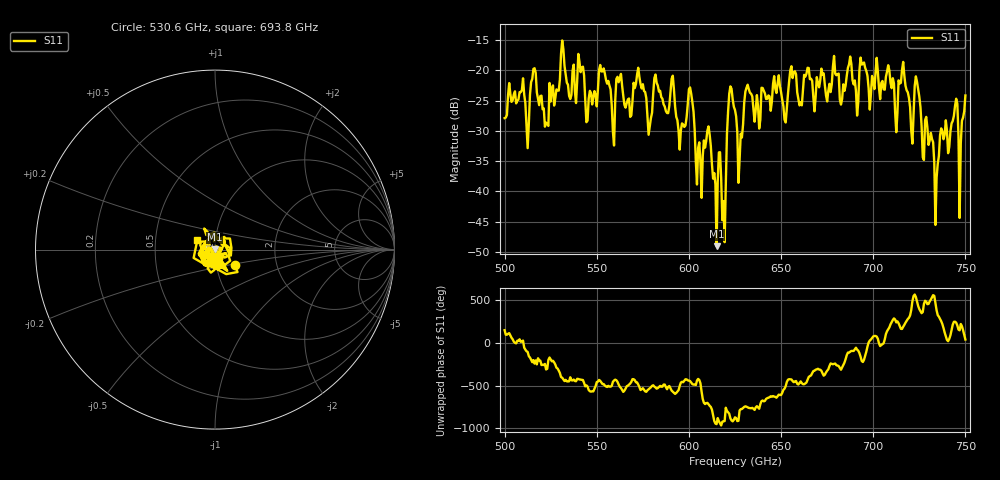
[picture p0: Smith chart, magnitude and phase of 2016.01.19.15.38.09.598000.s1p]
!Created with skrf (http://scikit-rf.org).
# GHz S RI R 50.0
!freq ReS11 ImS11
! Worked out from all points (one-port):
!   401 points, 500 GHz to 750 GHz, reference 50 ohm
!   lowest |S11| = -49.0 dB at 615 GHz (marker M1), VSWR 1.01, Z = 49.8 + j0.265 ohm
!   |S11| at or under -10 dB: start of sweep to end of sweep
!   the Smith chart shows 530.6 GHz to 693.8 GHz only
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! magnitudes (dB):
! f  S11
! 500 GHz  -27.9
! 512.5 GHz  -32.8
! 515.6 GHz  -19.7
! 522.5 GHz  -28.6
! 531.2 GHz  -15.0
! 545 GHz  -28.3
! 562.5 GHz  -21.3
! 578.8 GHz  -29.3
! 591.2 GHz  -20.9
! 593.8 GHz  -28.2
! 601.2 GHz  -23.9
! 605.6 GHz  -31.9
! 610.6 GHz  -29.2
! 615 GHz  -49.0
! 618.8 GHz  -41.6
! 621.9 GHz  -23.8
! 625 GHz  -26.5
! 627.5 GHz  -34.7
! 631.9 GHz  -22.4
! 651.9 GHz  -28.1
! 656.2 GHz  -21.3
! 687.5 GHz  -17.7
! 718.8 GHz  -23.6
! 723.8 GHz  -21.9
! 734.4 GHz  -37.7
! 744.4 GHz  -25.9
! 747.5 GHz  -32.0
! 750 GHz  -24.1
